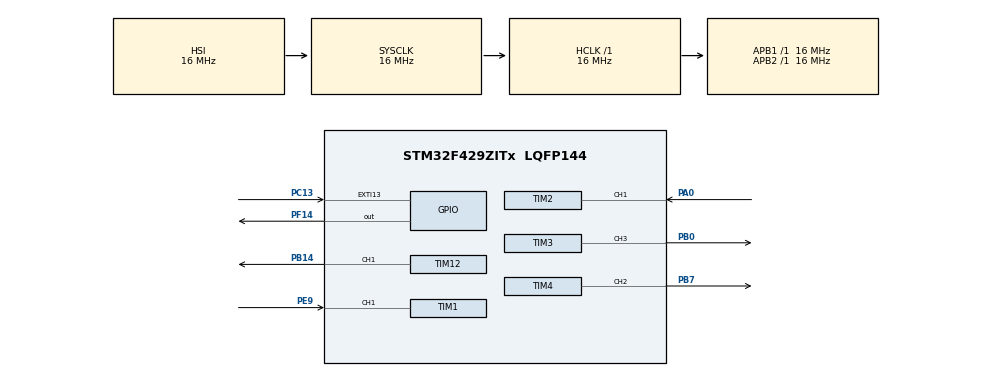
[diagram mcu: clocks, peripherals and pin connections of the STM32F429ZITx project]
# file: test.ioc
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Mcu.Family=STM32F4
Mcu.Name=STM32F429ZITx
Mcu.Package=LQFP144
NVIC.EXTI15_10_IRQn=true\:0\:0\:false\:false\:true\:true\:true
NVIC.PriorityGroup=NVIC_PRIORITYGROUP_4
NVIC.TIM1_CC_IRQn=true\:0\:0\:false\:false\:true\:true\:true
NVIC.TIM1_UP_TIM10_IRQn=true\:0\:0\:false\:false\:true\:true\:true
NVIC.TIM2_IRQn=true\:0\:0\:false\:false\:true\:true\:true
NVIC.TIM5_IRQn=true\:0\:0\:false\:false\:true\:true\:true
NVIC.TIM6_DAC_IRQn=true\:0\:0\:false\:false\:true\:true\:true
PA0/WKUP.Signal=S_TIM2_CH1_ETR
PB0.Signal=S_TIM3_CH3
PB14.Signal=S_TIM12_CH1
PB7.Signal=S_TIM4_CH2
PC13.GPIO_ModeDefaultEXTI=GPIO_MODE_IT_RISING
PC13.GPIO_PuPd=GPIO_PULLDOWN
PC13.Signal=GPXTI13
PE9.Signal=S_TIM1_CH1
PF14.GPIO_ModeDefaultOutputPP=GPIO_MODE_OUTPUT_PP
PF14.GPIO_PuPd=GPIO_PULLDOWN
PF14.Signal=GPIO_Output
ProjectManager.HeapSize=0x200
ProjectManager.StackSize=0x400
ProjectManager.TargetToolchain=MDK-ARM V5.32
RCC.AHBFreq_Value=16000000
RCC.APB1Freq_Value=16000000
RCC.APB2Freq_Value=16000000
RCC.CortexFreq_Value=16000000
RCC.HSE_VALUE=25000000
RCC.HSI_VALUE=16000000
RCC.LSE_VALUE=32768
RCC.SYSCLKFreq_VALUE=16000000
RCC.VCOOutputFreq_Value=192000000
SH.S_TIM12_CH1.0=TIM12_CH1,PWM Generation1 CH1
SH.S_TIM1_CH1.0=TIM1_CH1,Input_Capture1_from_TI1
SH.S_TIM2_CH1_ETR.0=TIM2_CH1,Input_Capture1_from_TI1
SH.S_TIM3_CH3.0=TIM3_CH3,PWM Generation3 CH3
SH.S_TIM4_CH2.0=TIM4_CH2,PWM Generation2 CH2
TIM1.Channel-Input_Capture1_from_TI1=TIM_CHANNEL_1
TIM1.Channel-Input_Capture2_from_TI1_63=TIM_CHANNEL_2
TIM1.ICPolarity_CH2=TIM_INPUTCHANNELPOLARITY_FALLING
TIM1.Period=65000
TIM1.Prescaler=15
TIM12.AutoReloadPreload=TIM_AUTORELOAD_PRELOAD_ENABLE
TIM12.Channel-PWM\ Generation1\ CH1=TIM_CHANNEL_1
TIM12.Period=2560
TIM12.Prescaler=0
TIM2.Channel-Input_Capture1_from_TI1=TIM_CHANNEL_1
TIM2.Channel-Input_Capture2_from_TI1_63=TIM_CHANNEL_2
TIM2.ICPolarity_CH2=TIM_INPUTCHANNELPOLARITY_FALLING
TIM2.Period=65000
TIM2.Prescaler=15
TIM3.AutoReloadPreload=TIM_AUTORELOAD_PRELOAD_ENABLE
TIM3.Channel-PWM\ Generation3\ CH3=TIM_CHANNEL_3
TIM3.Period=2560
TIM3.Prescaler=0
TIM4.AutoReloadPreload=TIM_AUTORELOAD_PRELOAD_ENABLE
TIM4.Channel-PWM\ Generation2\ CH2=TIM_CHANNEL_2
TIM4.Period=2560
TIM4.Prescaler=0
TIM5.AutoReloadPreload=TIM_AUTORELOAD_PRELOAD_ENABLE
TIM5.Period=1000
TIM5.Prescaler=15999
TIM6.AutoReloadPreload=TIM_AUTORELOAD_PRELOAD_ENABLE
TIM6.Period=1000
TIM6.Prescaler=7
VP_TIM12_VS_ClockSourceINT.Mode=Internal
VP_TIM1_VS_indirect_ch1.Mode=Input_Capture2_from_TI1_63
VP_TIM2_VS_indirect_ch1.Mode=Input_Capture2_from_TI1_63
VP_TIM3_VS_ClockSourceINT.Mode=Internal
VP_TIM4_VS_ClockSourceINT.Mode=Internal
VP_TIM5_VS_ClockSourceINT.Mode=Internal
VP_TIM6_VS_ClockSourceINT.Mode=Enable_Timer
board=custom

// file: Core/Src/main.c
/* USER CODE BEGIN Header */
/**
  ******************************************************************************
  * @file           : main.c
  * @brief          : Main program body
  ******************************************************************************
  * @attention
  *
  * <h2><center>&copy; Copyright (c) 2023 STMicroelectronics.
  * All rights reserved.</center></h2>
  *
  * This software component is licensed by ST under BSD 3-Clause license,
  * the "License"; You may not use this file except in compliance with the
  * License. You may obtain a copy of the License at:
  *                        opensource.org/licenses/BSD-3-Clause
  *
  ******************************************************************************
  */
/* USER CODE END Header */
#include "main.h"

TIM_HandleTypeDef htim1;
TIM_HandleTypeDef htim2;
TIM_HandleTypeDef htim3;
TIM_HandleTypeDef htim4;
TIM_HandleTypeDef htim5;
TIM_HandleTypeDef htim6;
TIM_HandleTypeDef htim12;

/* USER CODE BEGIN PV */
//crucial veriables for ADC
uint64_t falling = 0;//high-front time in microseconds
volatile uint8_t count_overflow = 0;
uint64_t period = 0;
uint64_t pulseWidth = 0;
//supportive vaiables for ADC
uint32_t counter = 0;
uint32_t time = 20;

uint16_t current_number = 0;
uint32_t tim6_counter_period = 1000;
/* USER CODE END PV */

void SystemClock_Config(void);
static void MX_GPIO_Init(void);
static void MX_TIM5_Init(void);
static void MX_TIM1_Init(void);
static void MX_TIM2_Init(void);
static void MX_TIM3_Init(void);
static void MX_TIM4_Init(void);
static void MX_TIM12_Init(void);
static void MX_TIM6_Init(void);

int main(void)
{

  /* MCU Configuration--------------------------------------------------------*/

  /* Reset of all peripherals, Initializes the Flash interface and the Systick. */
  HAL_Init();

  /* Configure the system clock */
  SystemClock_Config();

  /* Initialize all configured peripherals */
  MX_GPIO_Init();
  MX_TIM5_Init();
  MX_TIM1_Init();
  MX_TIM2_Init();
  MX_TIM3_Init();
  MX_TIM4_Init();
  MX_TIM12_Init();
  MX_TIM6_Init();
  /* USER CODE BEGIN 2 */
	HAL_TIM_Base_Start_IT(&htim5);
	HAL_TIM_Base_Start_IT(&htim2);
  HAL_TIM_IC_Start_IT(&htim2, TIM_CHANNEL_1);
  HAL_TIM_IC_Start_IT(&htim2, TIM_CHANNEL_2);
	HAL_TIM_PWM_Start_IT(&htim3, TIM_CHANNEL_3);
	HAL_TIM_PWM_Start_IT(&htim4, TIM_CHANNEL_2);
	HAL_TIM_PWM_Start_IT(&htim12, TIM_CHANNEL_1);
	HAL_TIM_Base_Start_IT(&htim6);
  /* USER CODE END 2 */

  /* Infinite loop */
  /* USER CODE BEGIN WHILE */
  while (1)
  {

		HAL_GPIO_WritePin(GPIOF, GPIO_PIN_14,GPIO_PIN_SET);
		HAL_Delay(time);
		HAL_GPIO_WritePin(GPIOF, GPIO_PIN_14,GPIO_PIN_RESET);
		HAL_Delay(time);
    /* USER CODE END WHILE */

  }
}

void SystemClock_Config(void)
{
  RCC_OscInitTypeDef RCC_OscInitStruct = {0};
  RCC_ClkInitTypeDef RCC_ClkInitStruct = {0};

  /** Configure the main internal regulator output voltage
  */
  __HAL_RCC_PWR_CLK_ENABLE();
  __HAL_PWR_VOLTAGESCALING_CONFIG(PWR_REGULATOR_VOLTAGE_SCALE3);
  /** Initializes the RCC Oscillators according to the specified parameters
  * in the RCC_OscInitTypeDef structure.
  */
  RCC_OscInitStruct.OscillatorType = RCC_OSCILLATORTYPE_HSI;
  RCC_OscInitStruct.HSIState = RCC_HSI_ON;
  RCC_OscInitStruct.HSICalibrationValue = RCC_HSICALIBRATION_DEFAULT;
  RCC_OscInitStruct.PLL.PLLState = RCC_PLL_NONE;
  if (HAL_RCC_OscConfig(&RCC_OscInitStruct) != HAL_OK)
  {
    Error_Handler();
  }
  /** Initializes the CPU, AHB and APB buses clocks
  */
  RCC_ClkInitStruct.ClockType = RCC_CLOCKTYPE_HCLK|RCC_CLOCKTYPE_SYSCLK
                              |RCC_CLOCKTYPE_PCLK1|RCC_CLOCKTYPE_PCLK2;
  RCC_ClkInitStruct.SYSCLKSource = RCC_SYSCLKSOURCE_HSI;
  RCC_ClkInitStruct.AHBCLKDivider = RCC_SYSCLK_DIV1;
  RCC_ClkInitStruct.APB1CLKDivider = RCC_HCLK_DIV1;
  RCC_ClkInitStruct.APB2CLKDivider = RCC_HCLK_DIV1;

  if (HAL_RCC_ClockConfig(&RCC_ClkInitStruct, FLASH_LATENCY_0) != HAL_OK)
  {
    Error_Handler();
  }
}

static void MX_TIM1_Init(void)
{

  TIM_MasterConfigTypeDef sMasterConfig = {0};
  TIM_IC_InitTypeDef sConfigIC = {0};

  htim1.Instance = TIM1;
  htim1.Init.Prescaler = 15;
  htim1.Init.CounterMode = TIM_COUNTERMODE_UP;
  htim1.Init.Period = 65000;
  htim1.Init.ClockDivision = TIM_CLOCKDIVISION_DIV1;
  htim1.Init.RepetitionCounter = 0;
  htim1.Init.AutoReloadPreload = TIM_AUTORELOAD_PRELOAD_DISABLE;
  if (HAL_TIM_IC_Init(&htim1) != HAL_OK)
  {
    Error_Handler();
  }
  sMasterConfig.MasterOutputTrigger = TIM_TRGO_RESET;
  sMasterConfig.MasterSlaveMode = TIM_MASTERSLAVEMODE_DISABLE;
  if (HAL_TIMEx_MasterConfigSynchronization(&htim1, &sMasterConfig) != HAL_OK)
  {
    Error_Handler();
  }
  sConfigIC.ICPolarity = TIM_INPUTCHANNELPOLARITY_RISING;
  sConfigIC.ICSelection = TIM_ICSELECTION_DIRECTTI;
  sConfigIC.ICPrescaler = TIM_ICPSC_DIV1;
  sConfigIC.ICFilter = 0;
  if (HAL_TIM_IC_ConfigChannel(&htim1, &sConfigIC, TIM_CHANNEL_1) != HAL_OK)
  {
    Error_Handler();
  }
  sConfigIC.ICPolarity = TIM_INPUTCHANNELPOLARITY_FALLING;
  sConfigIC.ICSelection = TIM_ICSELECTION_INDIRECTTI;
  if (HAL_TIM_IC_ConfigChannel(&htim1, &sConfigIC, TIM_CHANNEL_2) != HAL_OK)
  {
    Error_Handler();
  }

}

static void MX_TIM2_Init(void)
{

  TIM_MasterConfigTypeDef sMasterConfig = {0};
  TIM_IC_InitTypeDef sConfigIC = {0};

  htim2.Instance = TIM2;
  htim2.Init.Prescaler = 15;
  htim2.Init.CounterMode = TIM_COUNTERMODE_UP;
  htim2.Init.Period = 65000;
  htim2.Init.ClockDivision = TIM_CLOCKDIVISION_DIV1;
  htim2.Init.AutoReloadPreload = TIM_AUTORELOAD_PRELOAD_DISABLE;
  if (HAL_TIM_IC_Init(&htim2) != HAL_OK)
  {
    Error_Handler();
  }
  sMasterConfig.MasterOutputTrigger = TIM_TRGO_RESET;
  sMasterConfig.MasterSlaveMode = TIM_MASTERSLAVEMODE_DISABLE;
  if (HAL_TIMEx_MasterConfigSynchronization(&htim2, &sMasterConfig) != HAL_OK)
  {
    Error_Handler();
  }
  sConfigIC.ICPolarity = TIM_INPUTCHANNELPOLARITY_RISING;
  sConfigIC.ICSelection = TIM_ICSELECTION_DIRECTTI;
  sConfigIC.ICPrescaler = TIM_ICPSC_DIV1;
  sConfigIC.ICFilter = 0;
  if (HAL_TIM_IC_ConfigChannel(&htim2, &sConfigIC, TIM_CHANNEL_1) != HAL_OK)
  {
    Error_Handler();
  }
  sConfigIC.ICPolarity = TIM_INPUTCHANNELPOLARITY_FALLING;
  sConfigIC.ICSelection = TIM_ICSELECTION_INDIRECTTI;
  if (HAL_TIM_IC_ConfigChannel(&htim2, &sConfigIC, TIM_CHANNEL_2) != HAL_OK)
  {
    Error_Handler();
  }

}

static void MX_TIM3_Init(void)
{

  TIM_ClockConfigTypeDef sClockSourceConfig = {0};
  TIM_MasterConfigTypeDef sMasterConfig = {0};
  TIM_OC_InitTypeDef sConfigOC = {0};

  htim3.Instance = TIM3;
  htim3.Init.Prescaler = 0;
  htim3.Init.CounterMode = TIM_COUNTERMODE_UP;
  htim3.Init.Period = 2560;
  htim3.Init.ClockDivision = TIM_CLOCKDIVISION_DIV1;
  htim3.Init.AutoReloadPreload = TIM_AUTORELOAD_PRELOAD_ENABLE;
  if (HAL_TIM_Base_Init(&htim3) != HAL_OK)
  {
    Error_Handler();
  }
  sClockSourceConfig.ClockSource = TIM_CLOCKSOURCE_INTERNAL;
  if (HAL_TIM_ConfigClockSource(&htim3, &sClockSourceConfig) != HAL_OK)
  {
    Error_Handler();
  }
  if (HAL_TIM_PWM_Init(&htim3) != HAL_OK)
  {
    Error_Handler();
  }
  sMasterConfig.MasterOutputTrigger = TIM_TRGO_RESET;
  sMasterConfig.MasterSlaveMode = TIM_MASTERSLAVEMODE_DISABLE;
  if (HAL_TIMEx_MasterConfigSynchronization(&htim3, &sMasterConfig) != HAL_OK)
  {
    Error_Handler();
  }
  sConfigOC.OCMode = TIM_OCMODE_PWM1;
  sConfigOC.Pulse = 0;
  sConfigOC.OCPolarity = TIM_OCPOLARITY_HIGH;
  sConfigOC.OCFastMode = TIM_OCFAST_DISABLE;
  if (HAL_TIM_PWM_ConfigChannel(&htim3, &sConfigOC, TIM_CHANNEL_3) != HAL_OK)
  {
    Error_Handler();
  }
  HAL_TIM_MspPostInit(&htim3);

}

static void MX_TIM4_Init(void)
{

  TIM_ClockConfigTypeDef sClockSourceConfig = {0};
  TIM_MasterConfigTypeDef sMasterConfig = {0};
  TIM_OC_InitTypeDef sConfigOC = {0};

  htim4.Instance = TIM4;
  htim4.Init.Prescaler = 0;
  htim4.Init.CounterMode = TIM_COUNTERMODE_UP;
  htim4.Init.Period = 2560;
  htim4.Init.ClockDivision = TIM_CLOCKDIVISION_DIV1;
  htim4.Init.AutoReloadPreload = TIM_AUTORELOAD_PRELOAD_ENABLE;
  if (HAL_TIM_Base_Init(&htim4) != HAL_OK)
  {
    Error_Handler();
  }
  sClockSourceConfig.ClockSource = TIM_CLOCKSOURCE_INTERNAL;
  if (HAL_TIM_ConfigClockSource(&htim4, &sClockSourceConfig) != HAL_OK)
  {
    Error_Handler();
  }
  if (HAL_TIM_PWM_Init(&htim4) != HAL_OK)
  {
    Error_Handler();
  }
  sMasterConfig.MasterOutputTrigger = TIM_TRGO_RESET;
  sMasterConfig.MasterSlaveMode = TIM_MASTERSLAVEMODE_DISABLE;
  if (HAL_TIMEx_MasterConfigSynchronization(&htim4, &sMasterConfig) != HAL_OK)
  {
    Error_Handler();
  }
  sConfigOC.OCMode = TIM_OCMODE_PWM1;
  sConfigOC.Pulse = 0;
  sConfigOC.OCPolarity = TIM_OCPOLARITY_HIGH;
  sConfigOC.OCFastMode = TIM_OCFAST_DISABLE;
  if (HAL_TIM_PWM_ConfigChannel(&htim4, &sConfigOC, TIM_CHANNEL_2) != HAL_OK)
  {
    Error_Handler();
  }
  HAL_TIM_MspPostInit(&htim4);

}

static void MX_TIM5_Init(void)
{

  TIM_ClockConfigTypeDef sClockSourceConfig = {0};
  TIM_MasterConfigTypeDef sMasterConfig = {0};

  htim5.Instance = TIM5;
  htim5.Init.Prescaler = 15999;
  htim5.Init.CounterMode = TIM_COUNTERMODE_UP;
  htim5.Init.Period = 1000;
  htim5.Init.ClockDivision = TIM_CLOCKDIVISION_DIV1;
  htim5.Init.AutoReloadPreload = TIM_AUTORELOAD_PRELOAD_ENABLE;
  if (HAL_TIM_Base_Init(&htim5) != HAL_OK)
  {
    Error_Handler();
  }
  sClockSourceConfig.ClockSource = TIM_CLOCKSOURCE_INTERNAL;
  if (HAL_TIM_ConfigClockSource(&htim5, &sClockSourceConfig) != HAL_OK)
  {
    Error_Handler();
  }
  sMasterConfig.MasterOutputTrigger = TIM_TRGO_RESET;
  sMasterConfig.MasterSlaveMode = TIM_MASTERSLAVEMODE_DISABLE;
  if (HAL_TIMEx_MasterConfigSynchronization(&htim5, &sMasterConfig) != HAL_OK)
  {
    Error_Handler();
  }

}

static void MX_TIM6_Init(void)
{

  TIM_MasterConfigTypeDef sMasterConfig = {0};

  htim6.Instance = TIM6;
  htim6.Init.Prescaler = 7;
  htim6.Init.CounterMode = TIM_COUNTERMODE_UP;
  htim6.Init.Period = 1000;
  htim6.Init.AutoReloadPreload = TIM_AUTORELOAD_PRELOAD_ENABLE;
  if (HAL_TIM_Base_Init(&htim6) != HAL_OK)
  {
    Error_Handler();
  }
  sMasterConfig.MasterOutputTrigger = TIM_TRGO_RESET;
  sMasterConfig.MasterSlaveMode = TIM_MASTERSLAVEMODE_DISABLE;
  if (HAL_TIMEx_MasterConfigSynchronization(&htim6, &sMasterConfig) != HAL_OK)
  {
    Error_Handler();
  }

}

static void MX_TIM12_Init(void)
{

  TIM_ClockConfigTypeDef sClockSourceConfig = {0};
  TIM_OC_InitTypeDef sConfigOC = {0};

  htim12.Instance = TIM12;
  htim12.Init.Prescaler = 0;
  htim12.Init.CounterMode = TIM_COUNTERMODE_UP;
  htim12.Init.Period = 2560;
  htim12.Init.ClockDivision = TIM_CLOCKDIVISION_DIV1;
  htim12.Init.AutoReloadPreload = TIM_AUTORELOAD_PRELOAD_ENABLE;
  if (HAL_TIM_Base_Init(&htim12) != HAL_OK)
  {
    Error_Handler();
  }
  sClockSourceConfig.ClockSource = TIM_CLOCKSOURCE_INTERNAL;
  if (HAL_TIM_ConfigClockSource(&htim12, &sClockSourceConfig) != HAL_OK)
  {
    Error_Handler();
  }
  if (HAL_TIM_PWM_Init(&htim12) != HAL_OK)
  {
    Error_Handler();
  }
  sConfigOC.OCMode = TIM_OCMODE_PWM1;
  sConfigOC.Pulse = 0;
  sConfigOC.OCPolarity = TIM_OCPOLARITY_HIGH;
  sConfigOC.OCFastMode = TIM_OCFAST_DISABLE;
  if (HAL_TIM_PWM_ConfigChannel(&htim12, &sConfigOC, TIM_CHANNEL_1) != HAL_OK)
  {
    Error_Handler();
  }
  HAL_TIM_MspPostInit(&htim12);

}

static void MX_GPIO_Init(void)
{
  GPIO_InitTypeDef GPIO_InitStruct = {0};

  /* GPIO Ports Clock Enable */
  __HAL_RCC_GPIOC_CLK_ENABLE();
  __HAL_RCC_GPIOA_CLK_ENABLE();
  __HAL_RCC_GPIOB_CLK_ENABLE();
  __HAL_RCC_GPIOF_CLK_ENABLE();
  __HAL_RCC_GPIOE_CLK_ENABLE();

  /*Configure GPIO pin Output Level */
  HAL_GPIO_WritePin(GPIOF, GPIO_PIN_14, GPIO_PIN_RESET);

  /*Configure GPIO pin : PC13 */
  GPIO_InitStruct.Pin = GPIO_PIN_13;
  GPIO_InitStruct.Mode = GPIO_MODE_IT_RISING;
  GPIO_InitStruct.Pull = GPIO_PULLDOWN;
  HAL_GPIO_Init(GPIOC, &GPIO_InitStruct);

  /*Configure GPIO pin : PF14 */
  GPIO_InitStruct.Pin = GPIO_PIN_14;
  GPIO_InitStruct.Mode = GPIO_MODE_OUTPUT_PP;
  GPIO_InitStruct.Pull = GPIO_PULLDOWN;
  GPIO_InitStruct.Speed = GPIO_SPEED_FREQ_LOW;
  HAL_GPIO_Init(GPIOF, &GPIO_InitStruct);

  /* EXTI interrupt init*/
  HAL_NVIC_SetPriority(EXTI15_10_IRQn, 0, 0);
  HAL_NVIC_EnableIRQ(EXTI15_10_IRQn);

}

void Error_Handler(void)
{
  __disable_irq();
  while (1)
  {
  }
}

/************************ (C) COPYRIGHT STMicroelectronics *****END OF FILE****/
